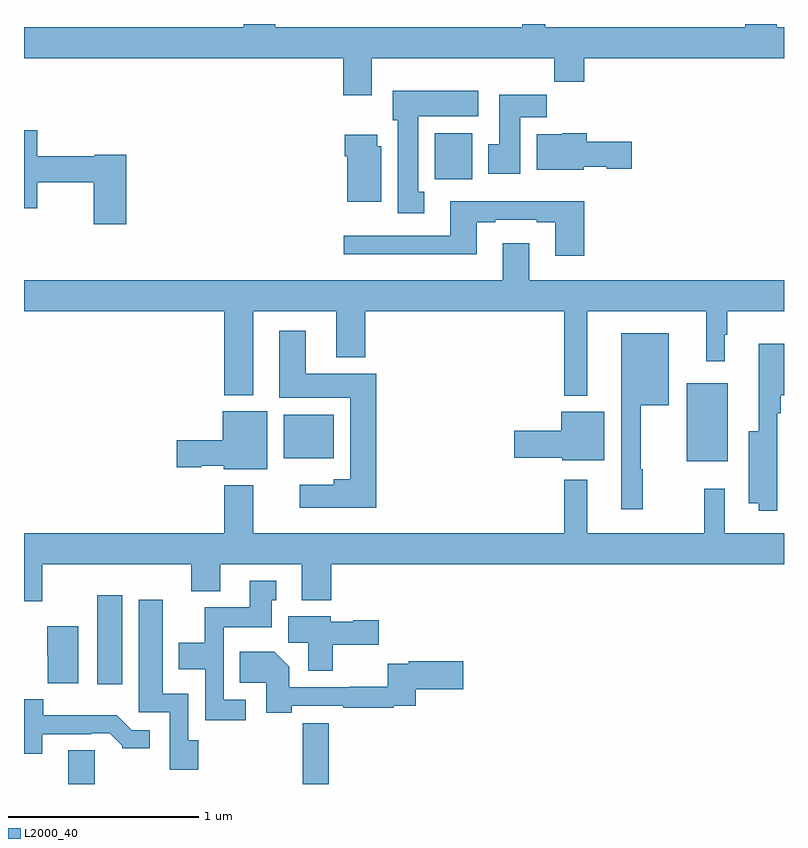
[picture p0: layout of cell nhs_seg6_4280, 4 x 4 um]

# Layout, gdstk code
import gdstk
lib = gdstk.Library(unit=1e-6, precision=1e-09)
def R(c, l, rs):  # rectangles x0, y0, x1, y1
    for r in rs: c.add(gdstk.rectangle(r[:2], r[2:], *l))
def P(c, l, *ps):  # polygons
    for p in ps: c.add(gdstk.Polygon(p, *l))
L2000_40 = (2000, 40)

nhs_seg6_4280 = lib.new_cell('nhs_seg6_4280')
R(nhs_seg6_4280, L2000_40, [(363.233,959.5,363.373,959.678), (364.468,959.5,364.604,959.821), (363.386,960.024,363.517,960.493), (366.488,961.199,366.703,961.609), (364.367,961.214,364.63,961.444), (365.162,962.684,365.359,962.926)])
P(nhs_seg6_4280, L2000_40, [(364.831,963.32),(365.791,963.32),(365.791,963.196),(365.948,963.196),(365.948,963.32),(367,963.32),(367,963.484),(366.962,963.484),(366.962,963.5),(366.797,963.5),(366.797,963.484),(365.743,963.484),(365.743,963.5),(365.622,963.5),(365.622,963.484),(364.322,963.484),(364.322,963.5),(364.157,963.5),(364.157,963.484),(363,963.484),(363,963.32),(364.679,963.32),(364.679,963.126),(364.831,963.126)],
  [(365.107,962.618),(365.074,962.618),(365.074,963.014),(365.392,963.014),(365.392,963.148),(364.94,963.148),(364.94,962.994),(364.967,962.994),(364.967,962.505),(365.107,962.505)],
  [(365.611,963.008),(365.75,963.008),(365.75,963.127),(365.501,963.127),(365.501,962.868),(365.444,962.868),(365.444,962.712),(365.611,962.712)],
  [(363.539,962.812),(363.372,962.812),(363.372,962.804),(363.07,962.804),(363.07,962.941),(363,962.941),(363,962.531),(363.07,962.531),(363.07,962.668),(363.368,962.668),(363.368,962.445),(363.539,962.445)],
  [(365.946,962.75),(366.066,962.75),(366.066,962.738),(366.199,962.738),(366.199,962.88),(365.963,962.88),(365.963,962.926),(365.832,962.926),(365.832,962.92),(365.699,962.92),(365.699,962.732),(365.946,962.732)],
  [(364.879,962.856),(364.858,962.856),(364.858,962.917),(364.688,962.917),(364.688,962.804),(364.7,962.804),(364.7,962.564),(364.879,962.564)],
  [(365.948,962.566),(365.243,962.566),(365.243,962.385),(364.683,962.385),(364.683,962.288),(365.383,962.288),(365.383,962.457),(365.479,962.457),(365.479,962.469),(365.699,962.469),(365.699,962.457),(365.795,962.457),(365.795,962.28),(365.948,962.28)],
  [(365.659,962.347),(365.519,962.347),(365.519,962.152),(363,962.152),(363,961.988),(364.055,961.988),(364.055,961.547),(364.207,961.547),(364.207,961.988),(364.643,961.988),(364.643,961.745),(364.796,961.745),(364.796,961.988),(365.844,961.988),(365.844,961.544),(365.965,961.544),(365.965,961.988),(366.59,961.988),(366.59,961.725),(366.688,961.725),(366.688,961.865),(366.7,961.865),(366.7,961.988),(367,961.988),(367,962.152),(365.659,962.152)],
  [(364.853,961.66),(364.483,961.66),(364.483,961.885),(364.343,961.885),(364.343,961.532),(364.718,961.532),(364.718,961.105),(364.631,961.105),(364.631,961.075),(364.452,961.075),(364.452,960.953),(364.853,960.953)],
  [(366.257,961.157),(366.247,961.157),(366.247,961.493),(366.394,961.493),(366.394,961.873),(366.143,961.873),(366.143,960.945),(366.257,960.945)],
  [(366.964,961.451),(366.983,961.451),(366.983,961.547),(367,961.547),(367,961.816),(366.866,961.816),(366.866,961.357),(366.815,961.357),(366.815,960.977),(366.866,960.977),(366.866,960.938),(366.964,960.938)],
  [(364.279,961.462),(364.046,961.462),(364.046,961.31),(363.804,961.31),(363.804,961.168),(363.933,961.168),(363.933,961.175),(364.05,961.175),(364.05,961.157),(364.279,961.157)],
  [(366.055,961.459),(365.828,961.459),(365.828,961.358),(365.58,961.358),(365.58,961.216),(365.832,961.216),(365.832,961.205),(366.055,961.205)],
  [(363.097,960.656),(363.881,960.656),(363.881,960.515),(364.033,960.515),(364.033,960.656),(364.463,960.656),(364.463,960.467),(364.616,960.467),(364.616,960.656),(367,960.656),(367,960.82),(366.687,960.82),(366.687,961.054),(366.579,961.054),(366.579,960.82),(365.965,960.82),(365.965,961.102),(365.844,961.102),(365.844,960.82),(364.207,960.82),(364.207,961.072),(364.055,961.072),(364.055,960.82),(363,960.82),(363,960.462),(363.097,960.462)],
  [(364.168,959.943),(364.05,959.943),(364.05,960.326),(364.303,960.326),(364.303,960.468),(364.327,960.468),(364.327,960.571),(364.187,960.571),(364.187,960.43),(363.952,960.43),(363.952,960.244),(363.815,960.244),(363.815,960.104),(363.954,960.104),(363.954,959.835),(364.168,959.835)],
  [(363.917,959.73),(363.864,959.73),(363.864,959.974),(363.73,959.974),(363.73,960.469),(363.605,960.469),(363.605,959.877),(363.768,959.877),(363.768,959.574),(363.917,959.574)],
  [(364.626,960.233),(364.867,960.233),(364.867,960.363),(364.734,960.363),(364.734,960.355),(364.614,960.355),(364.614,960.382),(364.391,960.382),(364.391,960.244),(364.496,960.244),(364.496,960.096),(364.626,960.096)],
  [(363.286,960.331),(363.122,960.331),(363.122,960.177),(363.124,960.177),(363.124,960.029),(363.286,960.029)],
  [(364.408,959.913),(364.681,959.913),(364.681,959.901),(364.946,959.901),(364.946,959.913),(365.063,959.913),(365.063,959.999),(365.311,959.999),(365.311,960.146),(365.026,960.146),(365.026,960.133),(364.915,960.133),(364.915,960.012),(364.714,960.012),(364.714,960.009),(364.396,960.009),(364.396,960.118),(364.318,960.196),(364.135,960.196),(364.135,960.032),(364.274,960.032),(364.274,959.875),(364.408,959.875)],
  [(363.097,959.763),(363.353,959.763),(363.353,959.766),(363.452,959.766),(363.516,959.702),(363.516,959.687),(363.661,959.687),(363.661,959.784),(363.567,959.784),(363.489,959.863),(363.1,959.863),(363.1,959.947),(363,959.947),(363,959.658),(363.097,959.658)])

lib.write_gds('nhs_seg6_4280.gds')
